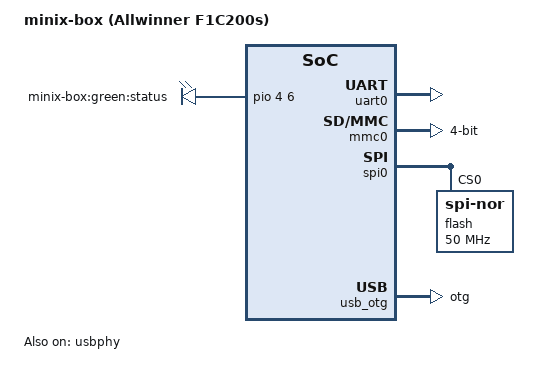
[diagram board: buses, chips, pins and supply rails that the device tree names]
// SPDX-License-Identifier: (GPL-2.0+ OR MIT)
/*
 * Device tree for the minix-box board (Allwinner F1C200s, 64 MB SiP DDR).
 * Based on the mainline suniv-f1c100s family.
 *
 * ⚠ VERIFY every pinctrl phandle, GPIO, and regulator node below against the
 *   in-tree suniv-f1c100s.dtsi of the kernel version you build (node names have
 *   changed across releases) and against the F1C200s datasheet pin-mux.
 */

/dts-v1/;
#include "suniv-f1c100s.dtsi"
#include <dt-bindings/gpio/gpio.h>

/ {
	model = "minix-box (Allwinner F1C200s)";
	compatible = "allwinner,suniv-f1c200s",
		     "allwinner,suniv-f1c100s",
		     "allwinner,suniv";

	aliases {
		serial0 = &uart0;
		spi0 = &spi0;
	};

	chosen {
		stdout-path = "serial0:115200n8";
	};

	leds {
		compatible = "gpio-leds";

		led-status {
			label = "minix-box:green:status";
			/* ⚠ VERIFY status-LED GPIO (bank/pin) */
			gpios = <&pio 4 6 GPIO_ACTIVE_HIGH>;
			linux,default-trigger = "heartbeat";
		};
	};
};

/* Serial console -> CH340N USB-UART bridge */
&uart0 {
	pinctrl-names = "default";
	pinctrl-0 = <&uart0_pe_pins>;	/* ⚠ VERIFY mux node name */
	status = "okay";
};

/* microSD on SDC0 */
&mmc0 {
	pinctrl-names = "default";
	pinctrl-0 = <&mmc0_pins>;	/* ⚠ VERIFY */
	bus-width = <4>;
	broken-cd;			/* or cd-gpios = <...>; if a CD switch is wired */
	status = "okay";
};

/* Boot SPI NOR (Winbond W25Q128, 16 MB) on SPI0 */
&spi0 {
	pinctrl-names = "default";
	pinctrl-0 = <&spi0_pc_pins>;	/* ⚠ VERIFY */
	status = "okay";

	flash@0 {
		compatible = "jedec,spi-nor";
		reg = <0>;
		spi-max-frequency = <50000000>;
	};
};

/* USB-OTG on USB-C #2 */
&usb_otg {
	dr_mode = "otg";
	status = "okay";
};

&usbphy {
	status = "okay";
};
